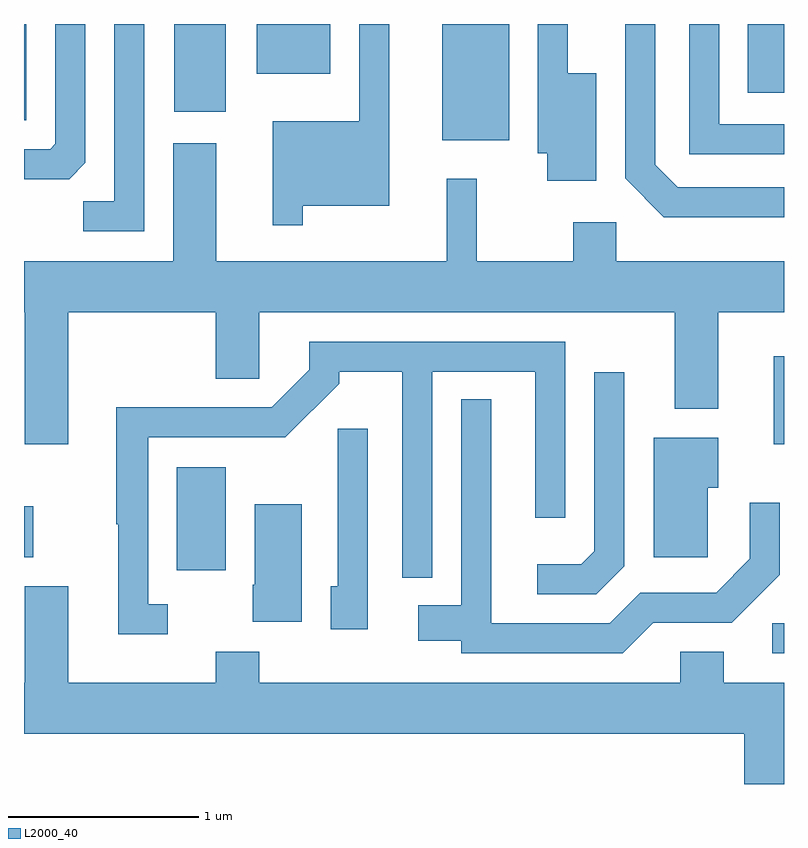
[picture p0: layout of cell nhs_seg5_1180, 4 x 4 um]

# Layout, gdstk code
import gdstk
lib = gdstk.Library(unit=1e-6, precision=1e-09)
def R(c, l, rs):  # rectangles x0, y0, x1, y1
    for r in rs: c.add(gdstk.rectangle(r[:2], r[2:], *l))
def P(c, l, *ps):  # polygons
    for p in ps: c.add(gdstk.Polygon(p, *l))
L2000_40 = (2000, 40)

nhs_seg5_1180 = lib.new_cell('nhs_seg5_1180')
R(nhs_seg5_1180, L2000_40, [(223.548,1472.761,223.611,1472.919), (220.416,1473.196,220.674,1473.739), (219.611,1473.266,219.659,1473.534), (223.556,1473.861,223.611,1474.324), (221.811,1475.461,222.164,1476.072), (219.611,1475.566,219.624,1476.072), (220.401,1475.611,220.674,1476.072), (223.421,1475.711,223.611,1476.072), (220.836,1475.811,221.224,1476.072)])
P(nhs_seg5_1180, L2000_40, [(220.244,1476.072),(220.086,1476.072),(220.086,1475.139),(219.923,1475.139),(219.923,1474.981),(220.244,1474.981)],
  [(219.934,1475.342),(219.934,1476.072),(219.776,1476.072),(219.776,1475.442),(219.749,1475.414),(219.611,1475.414),(219.611,1475.256),(219.849,1475.256)],
  [(223.611,1475.544),(223.269,1475.544),(223.269,1476.072),(223.111,1476.072),(223.111,1475.386),(223.611,1475.386)],
  [(222.624,1475.814),(222.474,1475.814),(222.474,1476.072),(222.316,1476.072),(222.316,1475.391),(222.366,1475.391),(222.366,1475.246),(222.624,1475.246)],
  [(223.611,1475.214),(223.052,1475.214),(222.934,1475.332),(222.934,1476.072),(222.776,1476.072),(222.776,1475.259),(222.979,1475.056),(223.611,1475.056)],
  [(221.079,1475.116),(221.534,1475.116),(221.534,1476.072),(221.376,1476.072),(221.376,1475.559),(220.921,1475.559),(220.921,1475.013),(221.079,1475.013)],
  [(219.844,1474.556),(220.621,1474.556),(220.621,1474.206),(220.849,1474.206),(220.849,1474.556),(223.036,1474.556),(223.036,1474.046),(223.264,1474.046),(223.264,1474.556),(223.611,1474.556),(223.611,1474.824),(222.729,1474.824),(222.729,1475.029),(222.501,1475.029),(222.501,1474.824),(221.994,1474.824),(221.994,1475.258),(221.836,1475.258),(221.836,1474.824),(220.624,1474.824),(220.624,1475.444),(220.396,1475.444),(220.396,1474.824),(219.611,1474.824),(219.611,1474.556),(219.616,1474.556),(219.616,1473.861),(219.844,1473.861)],
  [(220.368,1473.019),(220.264,1473.019),(220.264,1473.896),(220.987,1473.896),(221.269,1474.179),(221.269,1474.241),(221.601,1474.241),(221.601,1473.158),(221.759,1473.158),(221.759,1474.241),(222.301,1474.241),(222.301,1473.473),(222.459,1473.473),(222.459,1474.399),(221.111,1474.399),(221.111,1474.252),(220.914,1474.054),(220.096,1474.054),(220.096,1473.44),(220.106,1473.44),(220.106,1472.861),(220.368,1472.861)],
  [(222.769,1473.219),(222.769,1474.238),(222.611,1474.238),(222.611,1473.297),(222.544,1473.229),(222.313,1473.229),(222.313,1473.071),(222.622,1473.071)],
  [(222.922,1472.921),(223.337,1472.921),(223.589,1473.174),(223.589,1473.553),(223.431,1473.553),(223.431,1473.257),(223.254,1473.079),(222.854,1473.079),(222.694,1472.919),(222.069,1472.919),(222.069,1474.098),(221.911,1474.098),(221.911,1473.014),(221.686,1473.014),(221.686,1472.826),(221.911,1472.826),(221.911,1472.761),(222.762,1472.761)],
  [(221.419,1473.943),(221.261,1473.943),(221.261,1473.114),(221.226,1473.114),(221.226,1472.886),(221.419,1472.886)],
  [(223.209,1473.631),(223.264,1473.631),(223.264,1473.894),(222.926,1473.894),(222.926,1473.266),(223.209,1473.266)],
  [(221.074,1473.544),(220.826,1473.544),(220.826,1473.12),(220.816,1473.12),(220.816,1472.926),(221.074,1472.926)],
  [(223.611,1472.604),(223.294,1472.604),(223.294,1472.769),(223.066,1472.769),(223.066,1472.604),(220.849,1472.604),(220.849,1472.769),(220.621,1472.769),(220.621,1472.604),(219.844,1472.604),(219.844,1473.114),(219.616,1473.114),(219.616,1472.604),(219.611,1472.604),(219.611,1472.336),(223.401,1472.336),(223.401,1472.072),(223.611,1472.072)])

lib.write_gds('nhs_seg5_1180.gds')
